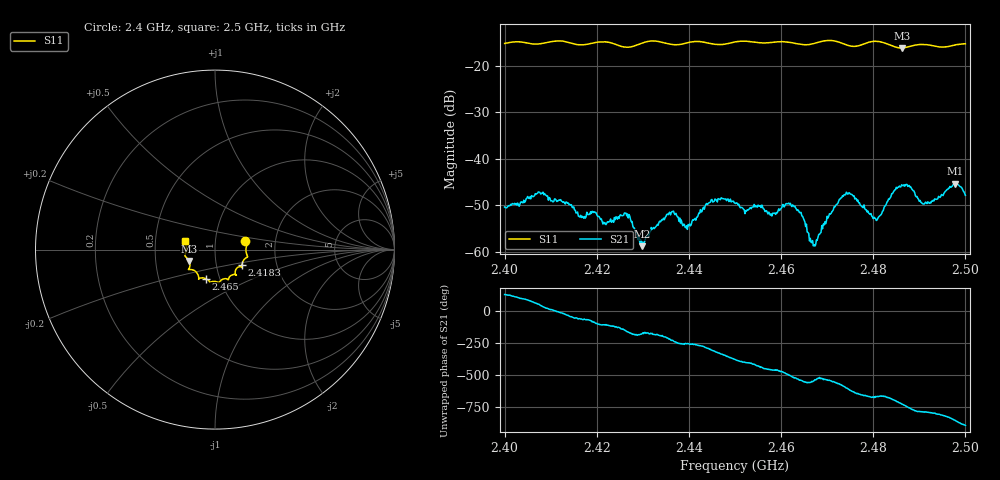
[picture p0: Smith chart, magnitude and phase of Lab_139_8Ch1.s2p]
# Hz S RI R 50
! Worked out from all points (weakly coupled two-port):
!   601 points, 2.4 GHz to 2.5 GHz, reference 50 ohm
!   highest |S21| = -45.35 dB at 2.4978 GHz (marker M1); lowest = -58.8 dB at 2.4298 GHz (marker M2)
!   lowest |S11| = -16.1 dB at 2.4862 GHz (marker M3), VSWR 1.37, Z = 37.2 - j4.81 ohm
!   |S11| at or under -10 dB: start of sweep to end of sweep
!   S12 and S22 are empty: the file has one direction only
!   S11 on the Smith chart (normalised r, x): 2.4 GHz: 1.40, +0.13; 2.4183 GHz: 1.33, -0.24; 2.465 GHz: 0.86, -0.28; 2.5 GHz: 0.71, +0.07
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2.4e9  0.1688 0.0465  -0.00173 0.00248  0 0  0 0
2.407833e9  0.1734 -0.0136  0.00321 0.00266  0 0  0 0
2.416667e9  0.1548 -0.0679  0.000976 -0.00212  0 0  0 0
2.418333e9  0.1499 -0.087  0.000756 -0.00241  0 0  0 0
2.4265e9  0.1213 -0.1034  -0.00232 -0.000718  0 0  0 0
2.429833e9  0.1134 -0.1354  -0.00114 -4.89e-06  0 0  0 0
2.433333e9  0.1177 -0.1413  -0.00189 0.00035  0 0  0 0
2.436167e9  0.0983 -0.1401  -0.00162 0.00207  0 0  0 0
2.439833e9  0.076 -0.1619  -0.000435 0.00191  0 0  0 0
2.4445e9  0.0656 -0.1628  0.00177 0.00288  0 0  0 0
2.45e9  0.0256 -0.1801  0.00314 -0.00111  0 0  0 0
2.458e9  -0.0173 -0.1787  -0.000422 -0.00238  0 0  0 0
2.461667e9  -0.031 -0.178  -0.0026 -0.00207  0 0  0 0
2.465e9  -0.0524 -0.1614  -0.00213 0.000487  0 0  0 0
2.466667e9  -0.0712 -0.1572  -0.00123 0.000228  0 0  0 0
2.473833e9  -0.0937 -0.144  -0.00244 0.00331  0 0  0 0
2.4805e9  -0.148 -0.1106  0.00139 0.0018  0 0  0 0
2.483333e9  -0.141 -0.0964  0.00274 0.00248  0 0  0 0
2.486167e9  -0.1434 -0.0631  0.00522 -0.000588  0 0  0 0
2.491167e9  -0.1675 -0.0331  0.00114 -0.00308  0 0  0 0
2.497833e9  -0.1653 0.0346  -0.00384 -0.0038  0 0  0 0
2.5e9  -0.167 0.0471  -0.00401 -0.000484  0 0  0 0
